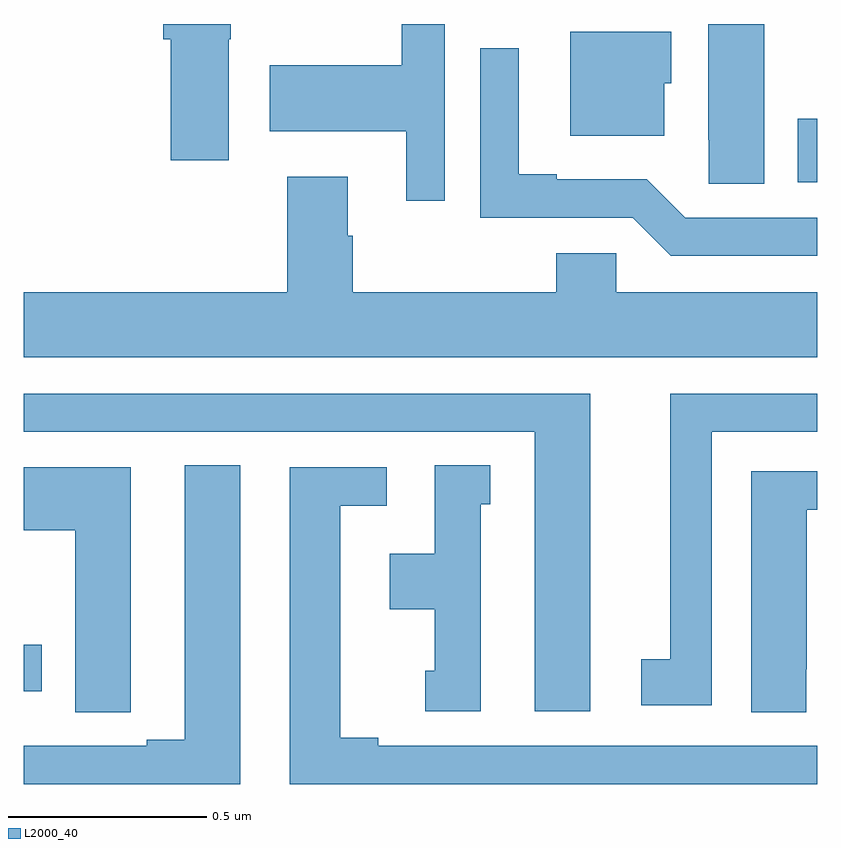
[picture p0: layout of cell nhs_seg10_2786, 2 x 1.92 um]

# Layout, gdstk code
import gdstk
lib = gdstk.Library(unit=1e-6, precision=1e-09)
def R(c, l, rs):  # rectangles x0, y0, x1, y1
    for r in rs: c.add(gdstk.rectangle(r[:2], r[2:], *l))
def P(c, l, *ps):  # polygons
    for p in ps: c.add(gdstk.Polygon(p, *l))
L2000_40 = (2000, 40)

nhs_seg10_2786 = lib.new_cell('nhs_seg10_2786')
R(nhs_seg10_2786, L2000_40, [(145,1288.818,145.045,1288.935), (146.951,1290.101,147,1290.261)])
P(nhs_seg10_2786, L2000_40, [(145.516,1290.462),(145.522,1290.462),(145.522,1290.5),(145.352,1290.5),(145.352,1290.462),(145.37,1290.462),(145.37,1290.156),(145.516,1290.156)],
  [(146.866,1290.5),(146.726,1290.5),(146.726,1290.208),(146.727,1290.208),(146.727,1290.097),(146.866,1290.097)],
  [(146.061,1290.5),(145.953,1290.5),(145.953,1290.396),(145.62,1290.396),(145.62,1290.23),(145.964,1290.23),(145.964,1290.054),(146.061,1290.054)],
  [(146.614,1290.351),(146.632,1290.351),(146.632,1290.481),(146.378,1290.481),(146.378,1290.218),(146.614,1290.218)],
  [(147,1290.012),(146.667,1290.012),(146.571,1290.108),(146.344,1290.108),(146.344,1290.121),(146.248,1290.121),(146.248,1290.439),(146.151,1290.439),(146.151,1290.012),(146.535,1290.012),(146.631,1289.916),(147,1289.916)],
  [(147,1289.824),(146.493,1289.824),(146.493,1289.922),(146.342,1289.922),(146.342,1289.824),(145.829,1289.824),(145.829,1289.966),(145.816,1289.966),(145.816,1290.115),(145.664,1290.115),(145.664,1289.824),(145,1289.824),(145,1289.66),(147,1289.66)],
  [(146.734,1289.472),(147,1289.472),(147,1289.568),(146.63,1289.568),(146.63,1288.898),(146.556,1288.898),(146.556,1288.782),(146.734,1288.782)],
  [(146.428,1289.568),(145,1289.568),(145,1289.472),(146.288,1289.472),(146.288,1288.767),(146.428,1288.767)],
  [(146.152,1289.289),(146.176,1289.289),(146.176,1289.387),(146.036,1289.387),(146.036,1289.164),(145.922,1289.164),(145.922,1289.024),(146.036,1289.024),(146.036,1288.869),(146.012,1288.869),(146.012,1288.767),(146.152,1288.767)],
  [(145.546,1289.387),(145.406,1289.387),(145.406,1288.695),(145.31,1288.695),(145.31,1288.68),(145.034,1288.68),(145.034,1288.681),(145,1288.681),(145,1288.584),(145.546,1288.584)],
  [(145.269,1288.873),(145.27,1288.873),(145.27,1289.383),(145,1289.383),(145,1289.224),(145.13,1289.224),(145.13,1288.765),(145.269,1288.765)],
  [(147,1288.68),(145.894,1288.68),(145.894,1288.7),(145.798,1288.7),(145.798,1289.286),(145.915,1289.286),(145.915,1289.382),(145.67,1289.382),(145.67,1288.584),(147,1288.584)],
  [(146.973,1288.873),(146.974,1288.873),(146.974,1289.276),(147,1289.276),(147,1289.373),(146.834,1289.373),(146.834,1288.765),(146.973,1288.765)])

lib.write_gds('nhs_seg10_2786.gds')
